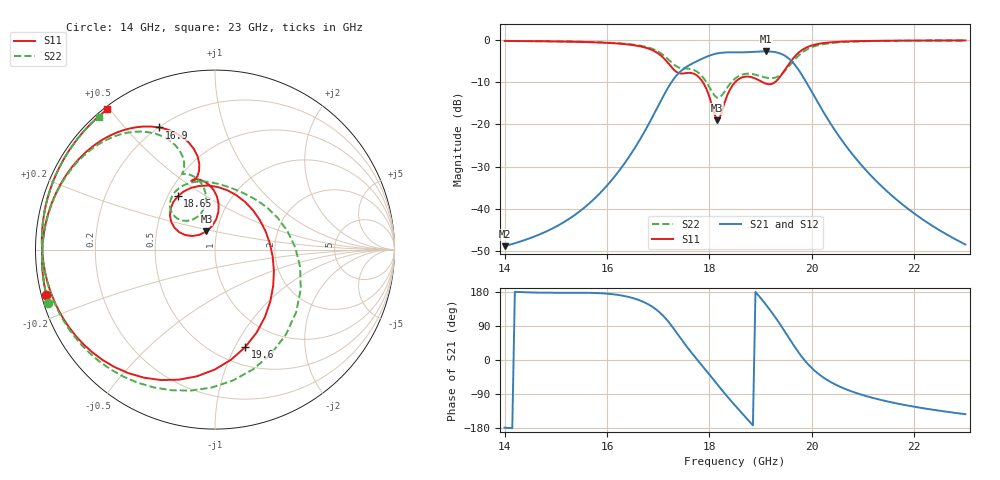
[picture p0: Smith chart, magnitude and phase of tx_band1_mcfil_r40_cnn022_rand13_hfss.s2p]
! Touchstone file exported from HFSS 3D Layout Design 2026.1.0
!  File:  D:/Work/SIM/ADS_AUTO_SIM/projects/RFSOC_RF/TX_Fillter.aedt
!  Generated:  03:46:40 AM Aug 31, 2026
!  Design:  TX_BAND1_MCFIL_R40_CNN022
!  Project:  TX_Fillter
# GHz S MA R 50.000000
! Terminal data exported
! Port[1] = Port1
! Port[2] = Port2
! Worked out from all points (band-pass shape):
!   181 points, 14 GHz to 23 GHz, reference 50 ohm
!   highest |S21| = -2.71 dB at 19.1 GHz (marker M1); lowest = -48.8 dB at 14 GHz (marker M2)
!   |S21| within 3 dB of the highest: 17.65 GHz to 19.66 GHz (2.009 GHz wide, 10.8 % of centre)
!   lowest |S11| = -19.0 dB at 18.15 GHz (marker M3), VSWR 1.25, Z = 44.6 + j9.19 ohm
!   |S11| at or under -10 dB: 17.87 GHz to 18.5 GHz (631.2 MHz wide, 3.47 % of centre); 19.04 GHz to 19.28 GHz (237.9 MHz wide, 1.24 % of centre)
!   |S22| runs from -13.7 to -0.1 dB; largest |S21 - S12| = 1.2e-14
!   S11 on the Smith chart (normalised r, x): 14 GHz: 0.01, -0.13; 16.9 GHz: 0.20, +0.62; 18.65 GHz: 0.56, +0.38; 19.6 GHz: 0.69, -1.10; 23 GHz: 0.01, +0.49
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14  0.9732 -164.9  0.003641 -178.6  0.003641 -178.6  0.9743 -162.3
15.5  0.9465 164.8  0.009745 177.5  0.009745 177.5  0.9498 168.3
16.3  0.8977 141.8  0.03193 169.8  0.03193 169.8  0.9064 146.6
16.9  0.7493 114.7  0.1267 139.2  0.1267 139.2  0.777 122.2
17  0.6909 109.0  0.1656 128.9  0.1656 128.9  0.7264 117.2
17.25  0.4851 100.4  0.3102 92.3  0.3102 92.3  0.5484 109.2
17.5  0.4022 109.1  0.4569 45.8  0.4569 45.8  0.4603 113.6
17.85  0.3312 91.2  0.5968 -13.7  0.5968 -13.7  0.376 101.6
18.15  0.1125 115.1  0.692 -63.7  0.692 -63.7  0.2071 118.1
18.3  0.1839 153.9  0.7106 -88.5  0.7106 -88.5  0.2465 138.8
18.5  0.3155 142.7  0.713 -119.9  0.713 -119.9  0.3487 136.1
18.65  0.3624 125.1  0.713 -142.4  0.713 -142.4  0.3908 124.9
18.9  0.3491 87.4  0.7242 179.7  0.7242 179.7  0.3879 101.7
19.1  0.3044 45.7  0.7322 146.7  0.7322 146.7  0.3583 80.0
19.35  0.3483 -19.6  0.7014 100.3  0.7014 100.3  0.3731 38.5
19.6  0.5687 -72.8  0.5653 48.5  0.5653 48.5  0.5266 -24.9
19.8  0.7525 -105.6  0.3909 9.4  0.3909 9.4  0.6998 -72.3
20  0.8604 -130.3  0.2429 -21.3  0.2429 -21.3  0.8198 -107.0
20.25  0.9212 -152.0  0.1332 -48.3  0.1332 -48.3  0.8962 -135.9
20.55  0.9516 -169.7  0.06997 -70.4  0.06997 -70.4  0.9376 -158.5
21.5  0.9787 157.4  0.01561 -110.1  0.01561 -110.1  0.9757 163.1
23  0.9855 127.5  0.003815 -143.0  0.003815 -143.0  0.9852 131.2
